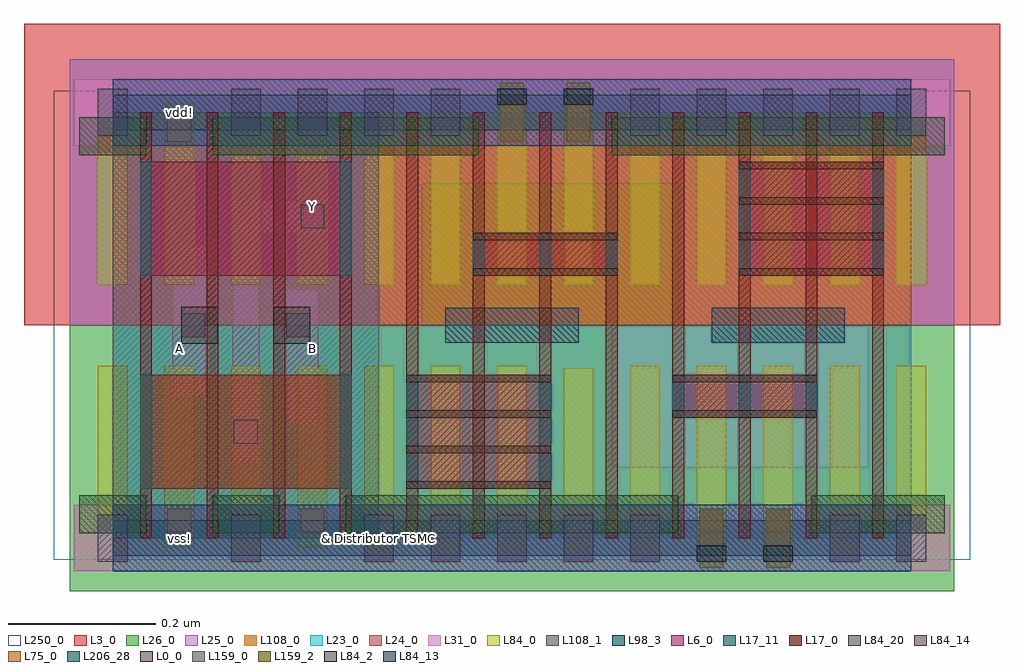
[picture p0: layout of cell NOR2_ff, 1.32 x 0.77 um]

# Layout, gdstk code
from math import pi, radians
import gdstk
lib = gdstk.Library(unit=1e-6, precision=1e-09)
def R(c, l, rs):  # rectangles x0, y0, x1, y1
    for r in rs: c.add(gdstk.rectangle(r[:2], r[2:], *l))
def A(c, l, x, y, w, h, nx, ny, dx, dy):  # array of equal rectangles
    R(c, l, [(x+i*dx, y+j*dy, x+i*dx+w, y+j*dy+h) for i in range(nx) for j in range(ny)])
def P(c, l, *ps):  # polygons
    for p in ps: c.add(gdstk.Polygon(p, *l))
L0_0 = (0, 0)
L3_0 = (3, 0)
L6_0 = (6, 0)
L17_0 = (17, 0)
L17_11 = (17, 11)
L23_0 = (23, 0)
L24_0 = (24, 0)
L25_0 = (25, 0)
L26_0 = (26, 0)
L31_0 = (31, 0)
L75_0 = (75, 0)
L84_0 = (84, 0)
L84_2 = (84, 2)
L84_13 = (84, 13)
L84_14 = (84, 14)
L84_20 = (84, 20)
L98_3 = (98, 3)
L108_0 = (108, 0)
L108_1 = (108, 1)
L159_0 = (159, 0)
L159_2 = (159, 2)
L206_28 = (206, 28)
L250_0 = (250, 0)

nch_svt_mac_cdns_7448955 = lib.new_cell('nch_svt_mac_CDNS_744895598730')
R(nch_svt_mac_cdns_7448955, L6_0, [(-0.09,0,-0.074,0.154), (-0.074,0,0,0.154), (0,0,0.016,0.154), (0.016,0,0.073,0.154)])
R(nch_svt_mac_cdns_7448955, L17_0, [(-0.09,-0.061,-0.074,0.215), (0,-0.061,0.016,0), (0,0,0.016,0.154), (0,0.154,0.016,0.215)])
R(nch_svt_mac_cdns_7448955, L75_0, [(-0.09,0,0.073,0.154)])
A(nch_svt_mac_cdns_7448955, L84_0, -0.147, -0.012, 0.04, 0.178, 3, 1, 0.09, 0)
R(nch_svt_mac_cdns_7448955, L206_28, [(-0.09,0,-0.074,0.154)])
nch_svt_mac_cdns_7448955.add(gdstk.Label('D', (0.044,0.077), layer=127, texttype=0))
nch_svt_mac_cdns_7448955.add(gdstk.Label('S', (-0.037,0.077), layer=127, texttype=0))
nch_svt_mac_cdns_7448955.add(gdstk.Label('nch_svt_mac', (0,0.02), layer=127, texttype=0))
nch_svt_mac_cdns_7448955.add(gdstk.Label('0.154/0.016', (0,0), layer=127, texttype=0))
nch_svt_mac_cdns_7448955.add(gdstk.Label('& SerialNumber 000000', (0,0), layer=63, texttype=63))
nch_svt_mac_cdns_7448955.add(gdstk.Label('& Distributor TSMC', (0,0), layer=63, texttype=63))
nch_svt_mac_cdns_7448955.add(gdstk.Label('& Metric 1', (0,0), layer=63, texttype=63))
nch_svt_mac_cdns_7448955.add(gdstk.Label('& PDK Version "tsmcN16_N16ADFP_iPDK_v1.0_20220119"', (0,0), layer=63, texttype=63))
nch_svt_mac_cdns_7448955.add(gdstk.Label('& PDK TechNode "N16ADFP"', (0,0), layer=63, texttype=63))
nch_svt_mac_cdns_7448955.add(gdstk.Label('& Product tsmcN16_PDK', (0,0), layer=63, texttype=63))
nch_svt_mac_cdns_7448955.add(gdstk.Label('& Vendor  Taiwan Semiconductor manufacturing Corp.', (0,0), layer=63, texttype=63))

pch_svt_mac_cdns_7448955 = lib.new_cell('pch_svt_mac_CDNS_744895598731')
R(pch_svt_mac_cdns_7448955, L6_0, [(-0.057,0,0,0.154), (0,0,0.016,0.154), (0.016,0,0.09,0.154), (0.09,0,0.106,0.154)])
R(pch_svt_mac_cdns_7448955, L17_0, [(0,-0.061,0.016,0), (0.09,-0.061,0.106,0.215), (0,0,0.016,0.154), (0,0.154,0.016,0.215)])
A(pch_svt_mac_cdns_7448955, L84_0, -0.057, -0.012, 0.04, 0.178, 3, 1, 0.09, 0)
R(pch_svt_mac_cdns_7448955, L206_28, [(0.09,0,0.106,0.154)])
pch_svt_mac_cdns_7448955.add(gdstk.Label('D', (0.053,0.077), layer=127, texttype=0))
pch_svt_mac_cdns_7448955.add(gdstk.Label('S', (-0.028,0.077), layer=127, texttype=0))
pch_svt_mac_cdns_7448955.add(gdstk.Label('pch_svt_mac', (0,0.02), layer=127, texttype=0))
pch_svt_mac_cdns_7448955.add(gdstk.Label('0.154/0.016', (0,0), layer=127, texttype=0))
pch_svt_mac_cdns_7448955.add(gdstk.Label('& SerialNumber 000000', (0,0), layer=63, texttype=63))
pch_svt_mac_cdns_7448955.add(gdstk.Label('& Distributor TSMC', (0,0), layer=63, texttype=63))
pch_svt_mac_cdns_7448955.add(gdstk.Label('& Metric 1', (0,0), layer=63, texttype=63))
pch_svt_mac_cdns_7448955.add(gdstk.Label('& PDK Version "tsmcN16_N16ADFP_iPDK_v1.0_20220119"', (0,0), layer=63, texttype=63))
pch_svt_mac_cdns_7448955.add(gdstk.Label('& PDK TechNode "N16ADFP"', (0,0), layer=63, texttype=63))
pch_svt_mac_cdns_7448955.add(gdstk.Label('& Product tsmcN16_PDK', (0,0), layer=63, texttype=63))
pch_svt_mac_cdns_7448955.add(gdstk.Label('& Vendor  Taiwan Semiconductor manufacturing Corp.', (0,0), layer=63, texttype=63))

c_pch_svt_mac_cdns_7448955 = lib.new_cell('pch_svt_mac_CDNS_744895598732')
R(c_pch_svt_mac_cdns_7448955, L3_0, [(-0.17,-0.067,0.113,0.221)])
R(c_pch_svt_mac_cdns_7448955, L6_0, [(-0.09,0,-0.074,0.154), (-0.074,0,0,0.154), (0,0,0.016,0.154), (0.016,0,0.033,0.154)])
R(c_pch_svt_mac_cdns_7448955, L17_0, [(-0.09,-0.061,-0.074,0.215), (0,-0.061,0.016,0), (0,0,0.016,0.154), (0,0.154,0.016,0.215)])
R(c_pch_svt_mac_cdns_7448955, L84_0, [(-0.147,-0.012,-0.107,0.166), (-0.057,-0.012,-0.017,0.166)])
R(c_pch_svt_mac_cdns_7448955, L206_28, [(-0.09,0,-0.074,0.154)])
c_pch_svt_mac_cdns_7448955.add(gdstk.Label('D', (0.024,0.077), layer=127, texttype=0))
c_pch_svt_mac_cdns_7448955.add(gdstk.Label('S', (-0.037,0.077), layer=127, texttype=0))
c_pch_svt_mac_cdns_7448955.add(gdstk.Label('pch_svt_mac', (0,0.02), layer=127, texttype=0))
c_pch_svt_mac_cdns_7448955.add(gdstk.Label('0.154/0.016', (0,0), layer=127, texttype=0))
c_pch_svt_mac_cdns_7448955.add(gdstk.Label('& SerialNumber 000000', (0,0), layer=63, texttype=63))
c_pch_svt_mac_cdns_7448955.add(gdstk.Label('& Distributor TSMC', (0,0), layer=63, texttype=63))
c_pch_svt_mac_cdns_7448955.add(gdstk.Label('& Metric 1', (0,0), layer=63, texttype=63))
c_pch_svt_mac_cdns_7448955.add(gdstk.Label('& PDK Version "tsmcN16_N16ADFP_iPDK_v1.0_20220119"', (0,0), layer=63, texttype=63))
c_pch_svt_mac_cdns_7448955.add(gdstk.Label('& PDK TechNode "N16ADFP"', (0,0), layer=63, texttype=63))
c_pch_svt_mac_cdns_7448955.add(gdstk.Label('& Product tsmcN16_PDK', (0,0), layer=63, texttype=63))
c_pch_svt_mac_cdns_7448955.add(gdstk.Label('& Vendor  Taiwan Semiconductor manufacturing Corp.', (0,0), layer=63, texttype=63))

c_nch_svt_mac_cdns_7448955 = lib.new_cell('nch_svt_mac_CDNS_744895598733')
R(c_nch_svt_mac_cdns_7448955, L6_0, [(-0.09,0,-0.074,0.154), (-0.074,0,0,0.154), (0,0,0.016,0.154), (0.016,0,0.033,0.154)])
R(c_nch_svt_mac_cdns_7448955, L17_0, [(-0.09,-0.061,-0.074,0.215), (0,-0.061,0.016,0), (0,0,0.016,0.154), (0,0.154,0.016,0.215)])
R(c_nch_svt_mac_cdns_7448955, L75_0, [(-0.09,0,0.033,0.154)])
R(c_nch_svt_mac_cdns_7448955, L84_0, [(-0.147,-0.012,-0.107,0.166), (-0.057,-0.012,-0.017,0.166)])
R(c_nch_svt_mac_cdns_7448955, L206_28, [(-0.09,0,-0.074,0.154)])
c_nch_svt_mac_cdns_7448955.add(gdstk.Label('D', (0.024,0.077), layer=127, texttype=0))
c_nch_svt_mac_cdns_7448955.add(gdstk.Label('S', (-0.037,0.077), layer=127, texttype=0))
c_nch_svt_mac_cdns_7448955.add(gdstk.Label('nch_svt_mac', (0,0.02), layer=127, texttype=0))
c_nch_svt_mac_cdns_7448955.add(gdstk.Label('0.154/0.016', (0,0), layer=127, texttype=0))
c_nch_svt_mac_cdns_7448955.add(gdstk.Label('& SerialNumber 000000', (0,0), layer=63, texttype=63))
c_nch_svt_mac_cdns_7448955.add(gdstk.Label('& Distributor TSMC', (0,0), layer=63, texttype=63))
c_nch_svt_mac_cdns_7448955.add(gdstk.Label('& Metric 1', (0,0), layer=63, texttype=63))
c_nch_svt_mac_cdns_7448955.add(gdstk.Label('& PDK Version "tsmcN16_N16ADFP_iPDK_v1.0_20220119"', (0,0), layer=63, texttype=63))
c_nch_svt_mac_cdns_7448955.add(gdstk.Label('& PDK TechNode "N16ADFP"', (0,0), layer=63, texttype=63))
c_nch_svt_mac_cdns_7448955.add(gdstk.Label('& Product tsmcN16_PDK', (0,0), layer=63, texttype=63))
c_nch_svt_mac_cdns_7448955.add(gdstk.Label('& Vendor  Taiwan Semiconductor manufacturing Corp.', (0,0), layer=63, texttype=63))

nor2_ff = lib.new_cell('NOR2_ff')
A(nor2_ff, L0_0, 0.397, 0.067, 0.196, 0.01, 1, 4, 0, 0.048)
A(nor2_ff, L0_0, 0.847, 0.355, 0.196, 0.01, 1, 4, 0, 0.048)
R(nor2_ff, L0_0, [(0.757,0.163,0.953,0.173), (0.757,0.211,0.953,0.221), (0.487,0.355,0.683,0.365), (0.487,0.403,0.683,0.413)])
R(nor2_ff, L3_0, [(-0.12,0.288,0.48,0.696), (0.24,0.288,1.2,0.696)])
R(nor2_ff, L6_0, [(0.397,0.067,0.593,0.221), (0.757,0.163,0.953,0.221), (0.487,0.355,0.683,0.413), (0.847,0.355,1.043,0.509)])
A(nor2_ff, L17_0, 0.037, 0, 0.016, 0.006, 4, 2, 0.09, 0.57)
A(nor2_ff, L17_0, 0.397, 0, 0.016, 0.576, 8, 1, 0.09, 0)
A(nor2_ff, L17_0, 0.037, 0.282, 0.016, 0.012, 4, 1, 0.09, 0)
R(nor2_ff, L17_11, [(0,-0.024,0.36,0.024), (0.36,-0.024,1.08,0.024), (0.45,0.264,0.63,0.312), (0.81,0.264,0.99,0.312), (0,0.552,0.36,0.6), (0.36,0.552,1.08,0.6)])
R(nor2_ff, L23_0, [(0,0,0.36,0.288), (0.36,0,1.08,0.288)])
R(nor2_ff, L24_0, [(0,0.288,0.36,0.576), (0.36,0.288,1.08,0.576)])
R(nor2_ff, L25_0, [(-0.058,0.288,0.418,0.648)])
P(nor2_ff, L25_0, [(0.302,0.648),(1.138,0.648),(1.138,0.288),(1.022,0.288),(1.022,0.096),(0.675,0.096),(0.675,0.288),(0.765,0.288),(0.765,0.48),(0.418,0.48),(0.418,0.288),(0.302,0.288)])
R(nor2_ff, L26_0, [(-0.058,-0.072,0.418,0.288)])
P(nor2_ff, L26_0, [(0.302,0.288),(0.418,0.288),(0.418,0.48),(0.765,0.48),(0.765,0.288),(0.675,0.288),(0.675,0.096),(1.022,0.096),(1.022,0.288),(1.138,0.288),(1.138,-0.072),(0.302,-0.072)])
R(nor2_ff, L31_0, [(-0.053,-0.045,0.413,0.045), (0.307,-0.045,1.133,0.045), (0.162,0.102,0.198,0.457), (0.235,0.154,0.278,0.335), (0.081,0.192,0.126,0.396), (0.161,0.412,0.288,0.457), (-0.053,0.531,0.413,0.621), (0.307,0.531,1.133,0.621)])
A(nor2_ff, L84_0, -0.02, 0.032, 0.04, 0.023, 3, 1, 0.18, 0)
A(nor2_ff, L84_0, 0.34, 0.032, 0.04, 0.201, 3, 1, 0.09, 0)
A(nor2_ff, L84_0, 0.7, 0.343, 0.04, 0.201, 5, 1, 0.09, 0)
A(nor2_ff, L84_0, 0.16, 0.521, 0.04, 0.023, 3, 1, 0.09, 0)
R(nor2_ff, L84_0, [(0.07,-0.012,0.11,0.055), (0.25,-0.012,0.29,0.055), (0.79,-0.01,0.83,0.233), (0.88,-0.01,0.92,0.233), (0.61,0.032,0.65,0.23), (0.7,0.032,0.74,0.233), (0.97,0.032,1.01,0.233), (1.06,0.032,1.1,0.233), (0.34,0.343,0.38,0.544), (0.43,0.343,0.47,0.544), (0.52,0.343,0.56,0.586), (0.61,0.343,0.65,0.586), (-0.02,0.521,0.02,0.544), (0.07,0.521,0.11,0.588)])
R(nor2_ff, L84_2, [(0.093,0.263,0.143,0.313), (0.217,0.263,0.267,0.313)])
R(nor2_ff, L84_13, [(0.79,-0.032,0.83,-0.01), (0.88,-0.032,0.92,-0.01), (0.52,0.586,0.56,0.608), (0.61,0.586,0.65,0.608)])
A(nor2_ff, L84_14, -0.02, -0.032, 0.04, 0.064, 3, 1, 0.18, 0)
A(nor2_ff, L84_14, 0.34, -0.032, 0.04, 0.064, 5, 1, 0.09, 0)
A(nor2_ff, L84_14, 0.16, 0.544, 0.04, 0.064, 3, 1, 0.09, 0)
A(nor2_ff, L84_14, 0.7, 0.544, 0.04, 0.064, 5, 1, 0.09, 0)
R(nor2_ff, L84_14, [(0.97,-0.032,1.01,0.032), (1.06,-0.032,1.1,0.032), (-0.02,0.544,0.02,0.608), (0.34,0.544,0.38,0.608), (0.43,0.544,0.47,0.608)])
A(nor2_ff, L84_20, -0.045, 0.007, 0.09, 0.051, 3, 1, 0.18, 0)
A(nor2_ff, L84_20, 0.135, 0.518, 0.09, 0.051, 3, 1, 0.09, 0)
R(nor2_ff, L84_20, [(0.315,0.007,0.765,0.058), (0.945,0.007,1.125,0.058), (-0.045,0.518,0.045,0.569), (0.315,0.518,0.495,0.569), (0.675,0.518,1.125,0.569)])
R(nor2_ff, L98_3, [(0,-0.045,0.36,0.045), (0.36,-0.045,1.08,0.045), (0,0.531,0.36,0.621), (0.36,0.531,1.08,0.621)])
R(nor2_ff, L108_0, [(0.36,0,1.08,0.576)])
R(nor2_ff, L108_1, [(0,0,0.36,0.576)])
R(nor2_ff, L159_0, [(0.074,0.008,0.106,0.04), (0.074,0.008,0.106,0.04), (0.254,0.008,0.286,0.04), (0.794,0.008,0.826,0.04), (0.884,0.008,0.916,0.04), (0.164,0.128,0.196,0.16), (0.093,0.272,0.125,0.304), (0.235,0.272,0.267,0.304), (0.254,0.419,0.286,0.451), (0.074,0.536,0.106,0.568), (0.524,0.536,0.556,0.568), (0.614,0.536,0.646,0.568)])
R(nor2_ff, L159_2, [(0.794,-0.04,0.826,0.04), (0.884,-0.04,0.916,0.04), (0.524,0.536,0.556,0.616), (0.614,0.536,0.646,0.616)])
A(nor2_ff, L206_28, 0.757, 0.163, 0.016, 0.058, 3, 1, 0.09, 0)
A(nor2_ff, L206_28, 0.487, 0.355, 0.016, 0.058, 3, 1, 0.09, 0)
R(nor2_ff, L206_28, [(0.397,0.067,0.413,0.221), (0.577,0.067,0.593,0.221), (0.847,0.355,0.863,0.509), (1.027,0.355,1.043,0.509)])
R(nor2_ff, L250_0, [(-0.08,-0.029,0.44,0.605), (0.28,-0.029,1.16,0.605)])
nor2_ff.add(gdstk.Reference(nch_svt_mac_cdns_7448955, (0.233,0.067), rotation=pi, x_reflection=True))
nor2_ff.add(gdstk.Reference(pch_svt_mac_cdns_7448955, (0.217,0.355)))
nor2_ff.add(gdstk.Reference(c_pch_svt_mac_cdns_7448955, (0.127,0.355)))
nor2_ff.add(gdstk.Reference(c_nch_svt_mac_cdns_7448955, (0.127,0.067)))
nor2_ff.add(gdstk.Label('& Distributor TSMC', (0.36,0), layer=6, texttype=0))
nor2_ff.add(gdstk.Label('& Metric 0.415', (0.36,0), layer=6, texttype=0))
nor2_ff.add(gdstk.Label('& Product N16ADFP_StdCell', (0.36,0), layer=6, texttype=0))
nor2_ff.add(gdstk.Label('& SerialNumber 000000', (0.36,0), layer=6, texttype=0))
nor2_ff.add(gdstk.Label('& Vendor Taiwan Semiconductor Manufacturing Corp.', (0.36,0), layer=6, texttype=0))
nor2_ff.add(gdstk.Label('& Version 100b', (0.36,0), layer=6, texttype=0))
nor2_ff.add(gdstk.Label('& _Instance_tag TAPCELLBWP16P90', (0.36,0), layer=6, texttype=0))
nor2_ff.add(gdstk.Label('& Distributor TSMC', (0.36,0), layer=63, texttype=63))
nor2_ff.add(gdstk.Label('& Metric 0.415', (0.36,0), layer=63, texttype=63))
nor2_ff.add(gdstk.Label('& Product N16ADFP_StdCell', (0.36,0), layer=63, texttype=63))
nor2_ff.add(gdstk.Label('& SerialNumber 000000', (0.36,0), layer=63, texttype=63))
nor2_ff.add(gdstk.Label('& Vendor Taiwan Semiconductor Manufacturing Corp.', (0.36,0), layer=63, texttype=63))
nor2_ff.add(gdstk.Label('& Version 100b', (0.36,0), layer=63, texttype=63))
nor2_ff.add(gdstk.Label('& _Instance_tag TAPCELLBWP16P90', (0.36,0), layer=63, texttype=63))
nor2_ff.add(gdstk.Label('& Distributor TSMC', (0.36,0), layer=3, texttype=0))
nor2_ff.add(gdstk.Label('& Metric 0.415', (0.36,0), layer=3, texttype=0))
nor2_ff.add(gdstk.Label('& Product N16ADFP_StdCell', (0.36,0), layer=3, texttype=0))
nor2_ff.add(gdstk.Label('& SerialNumber 000000', (0.36,0), layer=3, texttype=0))
nor2_ff.add(gdstk.Label('& Vendor Taiwan Semiconductor Manufacturing Corp.', (0.36,0), layer=3, texttype=0))
nor2_ff.add(gdstk.Label('& Version 100b', (0.36,0), layer=3, texttype=0))
nor2_ff.add(gdstk.Label('& _Instance_tag TAPCELLBWP16P90', (0.36,0), layer=3, texttype=0))
nor2_ff.add(gdstk.Label('vss!', (0.09,0), layer=131, texttype=0))
nor2_ff.add(gdstk.Label('vdd!', (0.09,0.576), layer=131, texttype=0))
nor2_ff.add(gdstk.Label('Y', (0.27,0.448), layer=131, texttype=0))
nor2_ff.add(gdstk.Label('B', (0.27,0.256), layer=131, texttype=0))
nor2_ff.add(gdstk.Label('A', (0.09,0.256), layer=131, texttype=0))

lib.write_gds('NOR2_ff.gds')
